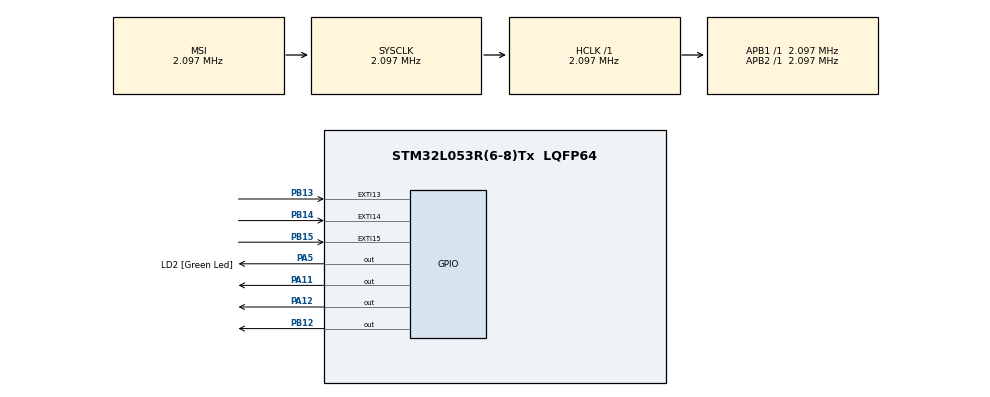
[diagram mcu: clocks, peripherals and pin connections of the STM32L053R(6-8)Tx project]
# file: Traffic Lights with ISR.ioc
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Mcu.Family=STM32L0
Mcu.Name=STM32L053R(6-8)Tx
Mcu.Package=LQFP64
NVIC.EXTI4_15_IRQn=true\:0\:0\:false\:false\:true\:true\:true
PA11.Signal=GPIO_Output
PA12.Signal=GPIO_Output
PA13.GPIO_Label=TMS
PA13.Signal=SYS_SWDIO
PA14.GPIO_Label=TCK
PA14.Signal=SYS_SWCLK
PA2.GPIO_Label=USART_TX
PA2.Signal=USART2_TX
PA3.GPIO_Label=USART_RX
PA3.Signal=USART2_RX
PA5.GPIO_Label=LD2 [Green Led]
PA5.Signal=GPIO_Output
PB12.Signal=GPIO_Output
PB13.Signal=GPXTI13
PB14.Signal=GPXTI14
PB15.Signal=GPXTI15
PC14-OSC32_IN.Signal=RCC_OSC32_IN
PC15-OSC32_OUT.Signal=RCC_OSC32_OUT
PH0-OSC_IN.Signal=RCC_OSC_IN
PH1-OSC_OUT.Signal=RCC_OSC_OUT
ProjectManager.HeapSize=0x200
ProjectManager.StackSize=0x400
ProjectManager.TargetToolchain=STM32CubeIDE
RCC.AHBFreq_Value=2097000
RCC.APB1Freq_Value=2097000
RCC.APB1TimFreq_Value=2097000
RCC.APB2Freq_Value=2097000
RCC.APB2TimFreq_Value=2097000
RCC.HSE_VALUE=8000000
RCC.HSI16_VALUE=16000000
RCC.HSI48_VALUE=48000000
RCC.HSI_VALUE=16000000
RCC.LSEState=RCC_LSE_ON
RCC.LSE_VALUE=32768
RCC.MSI_VALUE=2097000
RCC.SYSCLKFreq_VALUE=2097000
RCC.VCOOutputFreq_Value=48000000
board=NUCLEO-L053R8

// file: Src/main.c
/* USER CODE BEGIN Header */
/**
  ******************************************************************************
  * @file           : main.c
  * @brief          : Main program body
  ******************************************************************************
  * @attention
  *
  * <h2><center>&copy; Copyright (c) 2019 STMicroelectronics.
  * All rights reserved.</center></h2>
  *
  * This software component is licensed by ST under BSD 3-Clause license,
  * the "License"; You may not use this file except in compliance with the
  * License. You may obtain a copy of the License at:
  *                        opensource.org/licenses/BSD-3-Clause
  *
  ******************************************************************************
  */
/* USER CODE END Header */

#include "main.h"

void SystemClock_Config(void);
static void MX_GPIO_Init(void);

int main(void)
{

  /* MCU Configuration--------------------------------------------------------*/

  /* Reset of all peripherals, Initializes the Flash interface and the Systick. */
  HAL_Init();

  /* Configure the system clock */
  SystemClock_Config();

  /* Initialize all configured peripherals */
  MX_GPIO_Init();

  /* Infinite loop */
  /* USER CODE BEGIN WHILE */
  while (1)
  {
	  HAL_GPIO_TogglePin(GPIOA, GPIO_PIN_12); // Set RED Led
	  HAL_Delay(100); // 100 ms interval.
	  HAL_GPIO_TogglePin(GPIOA, GPIO_PIN_11); // Set YELLOW Led
	  HAL_Delay(100); // 100 ms interval.
	  HAL_GPIO_TogglePin(GPIOB, GPIO_PIN_12); // Set GREEN Led
	  HAL_Delay(100); // 100 ms interval.
    /* USER CODE END WHILE */

  }
}

void SystemClock_Config(void)
{
  RCC_OscInitTypeDef RCC_OscInitStruct = {0};
  RCC_ClkInitTypeDef RCC_ClkInitStruct = {0};

  /** Configure the main internal regulator output voltage
  */
  __HAL_PWR_VOLTAGESCALING_CONFIG(PWR_REGULATOR_VOLTAGE_SCALE1);
  /** Initializes the CPU, AHB and APB busses clocks
  */
  RCC_OscInitStruct.OscillatorType = RCC_OSCILLATORTYPE_MSI;
  RCC_OscInitStruct.MSIState = RCC_MSI_ON;
  RCC_OscInitStruct.MSICalibrationValue = 0;
  RCC_OscInitStruct.MSIClockRange = RCC_MSIRANGE_5;
  RCC_OscInitStruct.PLL.PLLState = RCC_PLL_NONE;
  if (HAL_RCC_OscConfig(&RCC_OscInitStruct) != HAL_OK)
  {
    Error_Handler();
  }
  /** Initializes the CPU, AHB and APB busses clocks
  */
  RCC_ClkInitStruct.ClockType = RCC_CLOCKTYPE_HCLK|RCC_CLOCKTYPE_SYSCLK
                              |RCC_CLOCKTYPE_PCLK1|RCC_CLOCKTYPE_PCLK2;
  RCC_ClkInitStruct.SYSCLKSource = RCC_SYSCLKSOURCE_MSI;
  RCC_ClkInitStruct.AHBCLKDivider = RCC_SYSCLK_DIV1;
  RCC_ClkInitStruct.APB1CLKDivider = RCC_HCLK_DIV1;
  RCC_ClkInitStruct.APB2CLKDivider = RCC_HCLK_DIV1;

  if (HAL_RCC_ClockConfig(&RCC_ClkInitStruct, FLASH_LATENCY_0) != HAL_OK)
  {
    Error_Handler();
  }
}

static void MX_GPIO_Init(void)
{
  GPIO_InitTypeDef GPIO_InitStruct = {0};

  /* GPIO Ports Clock Enable */
  __HAL_RCC_GPIOC_CLK_ENABLE();
  __HAL_RCC_GPIOH_CLK_ENABLE();
  __HAL_RCC_GPIOA_CLK_ENABLE();
  __HAL_RCC_GPIOB_CLK_ENABLE();

  /*Configure GPIO pin Output Level */
  HAL_GPIO_WritePin(GPIOA, LD2_Pin|GPIO_PIN_11|GPIO_PIN_12, GPIO_PIN_RESET);

  /*Configure GPIO pin Output Level */
  HAL_GPIO_WritePin(GPIOB, GPIO_PIN_12, GPIO_PIN_RESET);

  /*Configure GPIO pins : USART_TX_Pin USART_RX_Pin */
  GPIO_InitStruct.Pin = USART_TX_Pin|USART_RX_Pin;
  GPIO_InitStruct.Mode = GPIO_MODE_AF_PP;
  GPIO_InitStruct.Pull = GPIO_NOPULL;
  GPIO_InitStruct.Speed = GPIO_SPEED_FREQ_VERY_HIGH;
  GPIO_InitStruct.Alternate = GPIO_AF4_USART2;
  HAL_GPIO_Init(GPIOA, &GPIO_InitStruct);

  /*Configure GPIO pins : LD2_Pin PA11 PA12 */
  GPIO_InitStruct.Pin = LD2_Pin|GPIO_PIN_11|GPIO_PIN_12;
  GPIO_InitStruct.Mode = GPIO_MODE_OUTPUT_PP;
  GPIO_InitStruct.Pull = GPIO_NOPULL;
  GPIO_InitStruct.Speed = GPIO_SPEED_FREQ_LOW;
  HAL_GPIO_Init(GPIOA, &GPIO_InitStruct);

  /*Configure GPIO pin : PB12 */
  GPIO_InitStruct.Pin = GPIO_PIN_12;
  GPIO_InitStruct.Mode = GPIO_MODE_OUTPUT_PP;
  GPIO_InitStruct.Pull = GPIO_NOPULL;
  GPIO_InitStruct.Speed = GPIO_SPEED_FREQ_LOW;
  HAL_GPIO_Init(GPIOB, &GPIO_InitStruct);

  /*Configure GPIO pins : PB13 PB14 PB15 */
  GPIO_InitStruct.Pin = GPIO_PIN_13|GPIO_PIN_14|GPIO_PIN_15;
  GPIO_InitStruct.Mode = GPIO_MODE_IT_RISING;
  GPIO_InitStruct.Pull = GPIO_NOPULL;
  HAL_GPIO_Init(GPIOB, &GPIO_InitStruct);

  /* EXTI interrupt init*/
  HAL_NVIC_SetPriority(EXTI4_15_IRQn, 0, 0);
  HAL_NVIC_EnableIRQ(EXTI4_15_IRQn);

}

/* USER CODE BEGIN 4 */
void HAL_GPIO_EXTI_Callback(uint16_t GPIO_Pin)
{
	int i; // Will be later used in loop.
	int c; // Indexer for delays.
	if(GPIO_Pin == GPIO_PIN_13){
		// If button 1 pressed blink 5 times.
		for(i = 1;i < 5;i++){
			HAL_GPIO_TogglePin(GPIOB, GPIO_PIN_12);
			for (c=1; c<100000; c++);
			HAL_GPIO_TogglePin(GPIOB, GPIO_PIN_12);
			for (c=1; c<100000; c++);
		}
		HAL_GPIO_TogglePin(GPIOB, GPIO_PIN_12);
		for (c=1; c<100000; c++);
		HAL_GPIO_TogglePin(GPIOB, GPIO_PIN_12);
		// Reset count.
	}
	if(GPIO_Pin == GPIO_PIN_14){
		// If button 2 pressed blink 4 times.
		for(i = 1;i < 4;i++){
			HAL_GPIO_TogglePin(GPIOA, GPIO_PIN_11);
			for (c=1; c<150000; c++);
			HAL_GPIO_TogglePin(GPIOA, GPIO_PIN_11);
			for (c=1; c<150000; c++);
		}
		HAL_GPIO_TogglePin(GPIOA, GPIO_PIN_11);
		for (c=1; c<150000; c++);
		HAL_GPIO_TogglePin(GPIOA, GPIO_PIN_11);
		// Reset count.
	}
	if(GPIO_Pin == GPIO_PIN_15){
		// If button 3 pressed blink 3 times.
		for(i = 1;i < 3;i++){
			HAL_GPIO_TogglePin(GPIOA, GPIO_PIN_12);
			for (c=1; c<200000; c++);
			HAL_GPIO_TogglePin(GPIOA, GPIO_PIN_12);
			for (c=1; c<200000; c++);
		}
		HAL_GPIO_TogglePin(GPIOA, GPIO_PIN_12);
		for (c=1; c<200000; c++);
		HAL_GPIO_TogglePin(GPIOA, GPIO_PIN_12);
	}
	__HAL_GPIO_EXTI_CLEAR_IT(GPIO_Pin);
}
/* USER CODE END 4 */

void Error_Handler(void)
{
}

/************************ (C) COPYRIGHT STMicroelectronics *****END OF FILE****/
